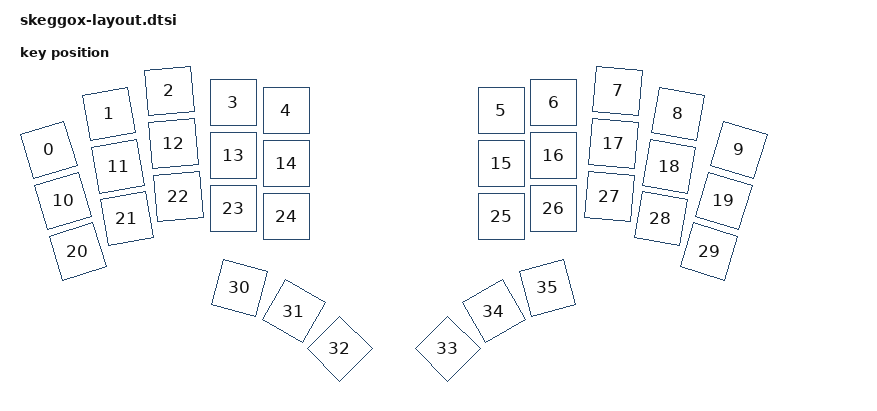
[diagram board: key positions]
#include <physical_layouts.dtsi>

/ {
    split_skeggox_layout: split_skeggox_layout {
        compatible = "zmk,physical-layout";
        display-name = "3x5 Split";

        keys  //                     w   h    x    y     rot    rx    ry
            = <&key_physical_attrs 100 100    0  118 (-1700)    50   168>
            , <&key_physical_attrs 100 100  121   46 (-1000)   171    96>
            , <&key_physical_attrs 100 100  241    0  (-500)   291    50>
            , <&key_physical_attrs 100 100  369   23       0     0     0>
            , <&key_physical_attrs 100 100  475   39       0     0     0>
            , <&key_physical_attrs 100 100  905   39       0     0     0>
            , <&key_physical_attrs 100 100 1010   23       0     0     0>
            , <&key_physical_attrs 100 100 1138    0     500  1188    50>
            , <&key_physical_attrs 100 100 1258   46    1000  1308    96>
            , <&key_physical_attrs 100 100 1380  118    1700  1430   168>
            , <&key_physical_attrs 100 100   29  220 (-1700)    79   270>
            , <&key_physical_attrs 100 100  139  151 (-1000)   189   201>
            , <&key_physical_attrs 100 100  250  105  (-500)   300   155>
            , <&key_physical_attrs 100 100  369  129       0     0     0>
            , <&key_physical_attrs 100 100  475  145       0     0     0>
            , <&key_physical_attrs 100 100  905  145       0     0     0>
            , <&key_physical_attrs 100 100 1010  129       0     0     0>
            , <&key_physical_attrs 100 100 1130  105     500  1180   155>
            , <&key_physical_attrs 100 100 1241  151    1000  1291   201>
            , <&key_physical_attrs 100 100 1350  220    1700  1400   270>
            , <&key_physical_attrs 100 100   58  321 (-1700)   108   371>
            , <&key_physical_attrs 100 100  156  255 (-1000)   206   305>
            , <&key_physical_attrs 100 100  259  211  (-500)   309   261>
            , <&key_physical_attrs 100 100  369  235       0     0     0>
            , <&key_physical_attrs 100 100  475  251       0     0     0>
            , <&key_physical_attrs 100 100  905  251       0     0     0>
            , <&key_physical_attrs 100 100 1010  235       0     0     0>
            , <&key_physical_attrs 100 100 1121  211     500  1171   261>
            , <&key_physical_attrs 100 100 1224  255    1000  1274   305>
            , <&key_physical_attrs 100 100 1321  321    1700  1371   371>
            , <&key_physical_attrs 100 100  382  394    1500   432   444>
            , <&key_physical_attrs 100 100  490  441    3000   540   491>
            , <&key_physical_attrs 100 100  582  516    4500   632   566>
            , <&key_physical_attrs 100 100  798  516 (-4500)   848   566>
            , <&key_physical_attrs 100 100  890  441 (-3000)   940   491>
            , <&key_physical_attrs 100 100  998  394 (-1500)  1048   444>
            ;
    };
};
